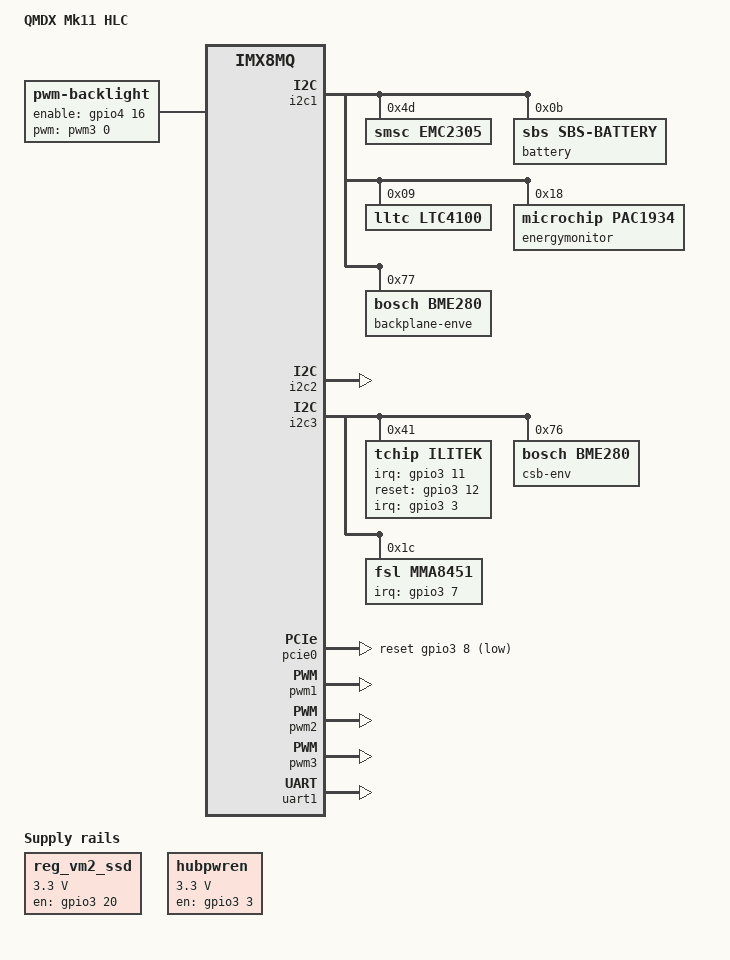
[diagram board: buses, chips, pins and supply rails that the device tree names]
#include "cl-som-imx8.dts"

/ {
	model = "QMDX Mk11 HLC";
	compatible = "qmdx,mk11-dev", "compulab,sbc-imx8",
		"compulab,cl-som-imx8,rev1.1", "compulab,cl-som-imx8", "fsl,imx8mq";

	regulators {
		reg_vm2_ssd: vm2_ssd {
			compatible = "regulator-fixed";
			pinctrl-names = "default";
			pinctrl-0 = <&pinctrl_m2_ssd_reg>;
			regulator-name = "+3.3_M.2";
			regulator-min-microvolt = <3300000>;
			regulator-max-microvolt = <3300000>;
			gpio = <&gpio3 20 0>;
			regulator-always-on;
			enable-active-high;
			off-on-delay = <10000>; // 10 milliseconds
		};

		hubpwren: hub-pwren {
			compatible = "regulator-fixed";
			pinctrl-names = "default";
			pintrl-0 = <&pinctrl_hubpwren>;
			regulator-name = "hub_pwren";
			regulator-min-microvolt = <3300000>;
			regulator-max-microvolt = <3300000>;
			gpio = <&gpio3 3 GPIO_ACTIVE_HIGH>;
			regulator-boot-on;
			regulator-always-on;
			enable-active-high;
		};
	};

	backlight {
		compatible = "pwm-backlight";
		pinctrl-names = "default";
		pinctrl-0 = <&pinctrl_backlight>;

		pwms = <&pwm3 0 50000 0>;
		// TODO define actual levels
		brightness-levels = <0 4 8 16 32 64 128 255>;
		default-brightness-level = <6>;

		post-pwm-on-delay-ms = <10>;
		enable-gpios = <&gpio4 16 0>;
	};
	pwmleds {
		pinctrl-names = "default";
		pinctrl-0 = <&pinctrl_statusled>;
		ledpwm2 {
			label = "qpoc-status";
			pwms = <&pwm2 0 1000000 0>;
			max-brightness = <100>;
			active-low;
		};
	};
};



&gpio4 {
	pinctrl-names = "default";
	pinctrl-0 = <&pinctrl_vchi>;
};

&iomuxc {
	sb-imx8 {
		pinctrl_backlight: backlightgrp {
			fsl,pins = <
				MX8MQ_IOMUXC_SAI1_TXD4_GPIO4_IO16 0x16
			>;
		};

		pinctrl_vchi: vchigrp {
			fsl,pins = <
				MX8MQ_IOMUXC_SAI1_MCLK_GPIO4_IO20          0x00000016
			>;
		};

		pinctrl_pwm1: pwm1grp {
			fsl,pins = <
				MX8MQ_IOMUXC_SPDIF_EXT_CLK_PWM1_OUT	0x16
			>;
		};

		pinctrl_statusled: statusled {
			fsl,pins = <
				MX8MQ_IOMUXC_SPDIF_RX_PWM2_OUT	0x16
			>;
		};

		pinctrl_mpcie_reg: mpcie_reggrp {
			fsl,pins = <
				MX8MQ_IOMUXC_SAI5_RXFS_GPIO3_IO19 0x16
			>;
		};
		pinctrl_hubpwren: hubpweren_grp {
			fsl,pins = <
				MX8MQ_IOMUXC_NAND_CE2_B_GPIO3_IO3 0x17059
			>;
		};

		pinctrl_m2_ssd_reg: m2_ssd_reggrp {
			fsl,pins = <
				MX8MQ_IOMUXC_SAI5_RXC_GPIO3_IO20 0x16
			>;
		};

		pinctrl_pcie0: pcie0grp {
			fsl,pins = <
				MX8MQ_IOMUXC_I2C4_SCL_GPIO5_IO20    0x16 /* PCIE CLKREQ_B */
				MX8MQ_IOMUXC_NAND_DATA02_GPIO3_IO8	0x16 /* reset */
				MX8MQ_IOMUXC_NAND_DATA03_GPIO3_IO9	0x16 /* wake */
			>;
		};

		pinctrl_pwm3: pwm3grp {
			fsl,pins = <
				MX8MQ_IOMUXC_SPDIF_TX_PWM3_OUT 0x16
			>;
		};

		pinctrl_touchscreen: touchscreen {
			fsl,pins = <
				MX8MQ_IOMUXC_NAND_DATA05_GPIO3_IO11 0x17059
				MX8MQ_IOMUXC_NAND_DATA06_GPIO3_IO12 0x17059
			>;
		};

		pinctrl_uart1_rs485_hdx: uart1rs485hdxgrp {
			fsl,pins = <
				MX8MQ_IOMUXC_UART1_RXD_UART1_DCE_RX	0x79
				MX8MQ_IOMUXC_UART1_TXD_UART1_DCE_TX	0x79
			>;
		};
	};

	cl-som-imx8 {
		pinctrl_uart3: uart3grp {
			fsl,pins = <
				MX8MQ_IOMUXC_UART3_TXD_UART3_DCE_TX		0x49
				MX8MQ_IOMUXC_UART3_RXD_UART3_DCE_RX		0x49
			>;
		};
	};
};

&i2c1 {
	status = "okay";

	emc2305@4d {
		compatible = "smsc,emc2305";
		reg = <0x4d>;
		#address-cells = <1>;
		#size-cells = <0>;

		fan@0 {
			reg = <0>;
			fan-div = <4>;
			pwm-enable = <3>;
		};
		fan@1 {
			reg = <1>;
			fan-div = <4>;
			pwm-enable = <3>;
		};
		fan@2 {
			reg = <2>;
			fan-div = <4>;
			pwm-enable = <3>;
		};
	};

	battery@b {
		compatible = "sbs,sbs-battery";
		reg = <0x0b>;
		sbs,i2c-retry-count = <2>;
		sbs,poll-retry-count = <10>;
/*
		sbs,battery-detect-gpios = <&gpio-controller 122 1>;
		pinctrl-names = "default";
		pinctrl-0 = <&charger_pins>;
*/
	};

	ltc4100@9 {
	   compatible = "lltc,ltc4100", "sbs,sbs-charger";
		reg = <0x09>;
/*
		interrupt-parent = <&gpio>;
		interrupts = <7 IRQ_TYPE_LEVEL_LOW>;
*/
	};

	energymonitor@18 {
		compatible = "microchip,pac1934";
		reg = <0x18>;
		samp-rate = <64>;
		status = "okay";

		ch1: channel@0 {
			uohms-shunt-res = <33000>; /* shunt resistor is 33 milliohm */
			rail-name = "Backplane local regulators";
			channel_enabled;
		};

		ch2: channel@1 {
			uohms-shunt-res = <25000>; /* shunt resistor is 25 milliohm */
			rail-name = "Heaters";
			channel_enabled;
		};

		ch3: channel@2 {
			uohms-shunt-res = <25000>; /*  shunt resistor is 25 milliohm */
			rail-name = "CHI";
			channel_enabled;
		};

		ch4: channel@3 {
			uohms-shunt-res = <33000>; /* shunt resistor is 33 milli Ohm */
			rail-name = "CSB";
			channel_enabled;
		};
	};

	backplane-enve@77 {
		compatible = "bosch,bme280";
		reg = <0x77>;
	};
};

sbc_i2c_lvds: &i2c2 {
	status = "okay";
};

&i2c3 {
	status = "okay";

	ilitek@41 {
		compatible = "tchip,ilitek";
		reg = <0x41>;

		interrupt-parent = <&gpio3>;
		interrupts = <3 IRQ_TYPE_EDGE_FALLING>;

		pinctrl-names = "default";
		pinctrl-0 = <&pinctrl_touchscreen>;

		ilitek,irq-gpio = <&gpio3 11 GPIO_ACTIVE_HIGH>;
		ilitek,reset-gpio = <&gpio3 12 GPIO_ACTIVE_HIGH>;

		ilitek,vbus = "vcc_i2c";
		ilitek,vdd = "vdd";
		ilitek,name = "ilitek_i2c";

		status = "okay";
	};

	csb-env@76 {
		compatible = "bosch,bme280";
		reg = <0x76>;
	};

	mma8451@1c {
		compatible = "fsl,mma8451";
		reg = <0x1c>;
		interrupt-parent = <&gpio3>;
		interrupts = <7 0>;
		interrupt-names = "INT2";
	};
};

&pcie0 {
	pinctrl-names = "default";
	pinctrl-0 = <&pinctrl_pcie0>;
	clkreq-gpio = <&gpio5 20 GPIO_ACTIVE_LOW>;
	reset-gpio = <&gpio3 8 GPIO_ACTIVE_LOW>;
	disable-gpio = <&gpio3 9 GPIO_ACTIVE_LOW>;
	ext_osc = <1>;
	hard-wired = <1>;
	clocks = <&clk IMX8MQ_CLK_PCIE1_ROOT>,
	         <&clk IMX8MQ_CLK_PCIE1_AUX>,
	         <&clk IMX8MQ_CLK_PCIE1_PHY>,
	         <&pcie0_refclk>;
	clock-names = "pcie", "pcie_bus", "pcie_phy", "pcie_aux";
	status = "okay";
};

/* Speaker */
&pwm1 {
	pinctrl-names = "default";
	pinctrl-0 = <&pinctrl_pwm1>;
	status = "okay";
};

/* Status LED */
&pwm2 {
	status = "okay";
};

/* Screen backlight */
&pwm3 {
	pinctrl-names = "default";
	pinctrl-0 = <&pinctrl_pwm3>;
	status = "okay";
};

/* Enable bluetooth */
&reg_usb_mux {
    enable-active-high;
};

/* Disabled audio */

&sai2 {
	status = "disabled";
};

&sai4 {
	status = "disabled";
};

&simple_sound {
	status = "disabled";
};

&spdif1 {
	status = "disabled";
};

&spdif2 {
	status = "disabled";
};

&wm8731 {
	status = "disabled";
};

/* End disable audio */

&uart1 {
	pinctrl-names = "default";
	pinctrl-0 = <&pinctrl_uart1_rs485_hdx>;
	assigned-clocks = <&clk IMX8MQ_CLK_UART1>;
	assigned-clock-parents = <&clk IMX8MQ_CLK_25M>;
	status = "okay";
};

// Chip detect and write protect not currently wired up
&usdhc2 {
	/delete-property/ cd-gpios;
	/delete-property/ wp-gpios;
	broken-cd;
};

/*
 * These need to got at the end as they rely on a name
 * defined above
 */
#include "compulab-imx8mq-lvds-mipi.dtsi"
#include "compulab-imx8mq-mipi-dcss.dtsi"
#include "panel-yes.dtsi"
